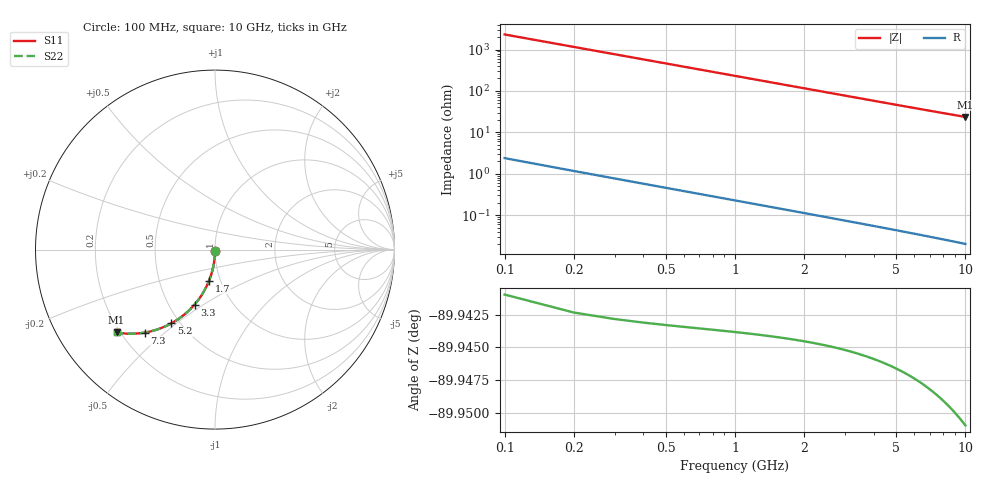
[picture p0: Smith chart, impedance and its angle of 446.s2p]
# Hz S RI R 50.00
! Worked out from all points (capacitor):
!   100 points, 100 MHz to 10 GHz, reference 50 ohm
!   read as one part in shunt: C = 689 fF near 100 MHz
!   lowest |Z| = 23.5 ohm at 10 GHz (marker M1)
!   S11 on the Smith chart (normalised r, x): 100 MHz: 1.00, -0.02; 1.7 GHz: 0.88, -0.31; 3.3 GHz: 0.67, -0.46; 5.2 GHz: 0.45, -0.48; 7.3 GHz: 0.30, -0.43; 10 GHz: 0.19, -0.35
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1e8  -6.58e-06 -0.0105  0.9997 -0.0112  0.9997 -0.0112  -6.58e-06 -0.0105
2e8  -0.000368 -0.021  0.9994 -0.0223  0.9994 -0.0223  -0.000368 -0.021
3e8  -0.000962 -0.0314  0.9988 -0.0335  0.9988 -0.0335  -0.000962 -0.0314
4e8  -0.00179 -0.0419  0.998 -0.0446  0.998 -0.0446  -0.00179 -0.0419
5e8  -0.00285 -0.0523  0.9969 -0.0557  0.9969 -0.0557  -0.00285 -0.0523
6e8  -0.00414 -0.0626  0.9956 -0.0667  0.9956 -0.0667  -0.00414 -0.0626
8e8  -0.0074 -0.0832  0.9923 -0.0887  0.9923 -0.0887  -0.0074 -0.0832
1.1e9  -0.014 -0.1137  0.9857 -0.1212  0.9857 -0.1212  -0.014 -0.1137
1.4e9  -0.0225 -0.1434  0.9772 -0.153  0.9772 -0.153  -0.0225 -0.1434
1.7e9  -0.0328 -0.1723  0.9668 -0.184  0.9668 -0.184  -0.0328 -0.1723
1.8e9  -0.0367 -0.1817  0.963 -0.1941  0.963 -0.1941  -0.0367 -0.1817
2.1e9  -0.0493 -0.2092  0.9503 -0.2236  0.9503 -0.2236  -0.0493 -0.2092
2.5e9  -0.0685 -0.2439  0.9311 -0.2611  0.9311 -0.2611  -0.0685 -0.2439
3.3e9  -0.1139 -0.3061  0.8856 -0.3288  0.8856 -0.3288  -0.1139 -0.3061
3.4e9  -0.12 -0.3131  0.8794 -0.3365  0.8794 -0.3365  -0.12 -0.3131
4.2e9  -0.1727 -0.3633  0.8267 -0.3922  0.8267 -0.3922  -0.1727 -0.3633
5.1e9  -0.2359 -0.4067  0.7632 -0.4419  0.7632 -0.4419  -0.2359 -0.4067
5.2e9  -0.243 -0.4107  0.7561 -0.4466  0.7561 -0.4466  -0.243 -0.4107
6.7e9  -0.3491 -0.4531  0.6496 -0.4996  0.6496 -0.4996  -0.3491 -0.4531
7.3e9  -0.3896 -0.4619  0.6088 -0.5127  0.6088 -0.5127  -0.3896 -0.4619
8.4e9  -0.4594 -0.4686  0.5386 -0.5273  0.5386 -0.5273  -0.4594 -0.4686
1e10  -0.5484 -0.4618  0.4488 -0.5322  0.4488 -0.5322  -0.5484 -0.4618
